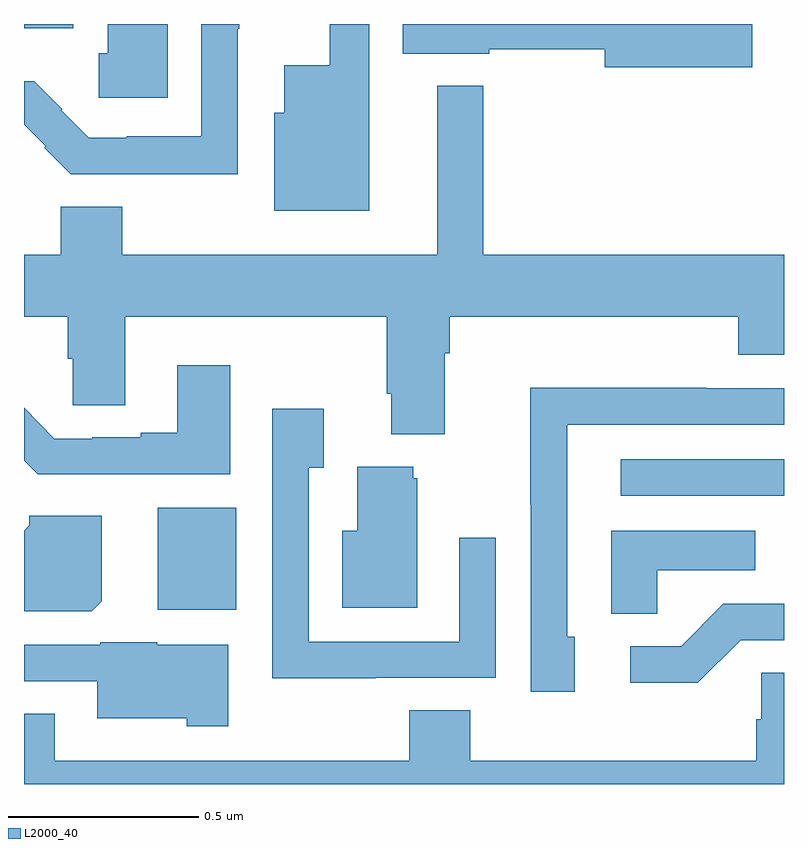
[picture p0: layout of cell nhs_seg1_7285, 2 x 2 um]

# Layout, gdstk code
import gdstk
lib = gdstk.Library(unit=1e-6, precision=1e-09)
def R(c, l, rs):  # rectangles x0, y0, x1, y1
    for r in rs: c.add(gdstk.rectangle(r[:2], r[2:], *l))
def P(c, l, *ps):  # polygons
    for p in ps: c.add(gdstk.Polygon(p, *l))
L2000_40 = (2000, 40)

nhs_seg1_7285 = lib.new_cell('nhs_seg1_7285')
R(nhs_seg1_7285, L2000_40, [(202.352,521.657,202.558,521.926), (203.571,521.958,204,522.054), (202,523.188,202.129,523.199)])
P(nhs_seg1_7285, L2000_40, [(203.917,523.199),(202.997,523.199),(202.997,523.121),(203.224,523.121),(203.224,523.132),(203.528,523.132),(203.528,523.085),(203.917,523.085)],
  [(202.909,523.199),(202.805,523.199),(202.805,523.09),(202.685,523.09),(202.685,522.966),(202.658,522.966),(202.658,522.707),(202.909,522.707)],
  [(202.378,523.199),(202.22,523.199),(202.22,523.122),(202.197,523.122),(202.197,523.005),(202.378,523.005)],
  [(202.563,523.186),(202.566,523.186),(202.566,523.199),(202.467,523.199),(202.467,522.904),(202.27,522.904),(202.27,522.9),(202.17,522.9),(202.098,522.972),(202.101,522.975),(202.027,523.049),(202,523.049),(202,522.934),(202.057,522.877),(202.053,522.873),(202.123,522.803),(202.563,522.803)],
  [(203.107,522.332),(203.12,522.332),(203.12,522.428),(203.879,522.428),(203.879,522.329),(204,522.329),(204,522.592),(203.209,522.592),(203.209,523.036),(203.087,523.036),(203.087,522.592),(202.258,522.592),(202.258,522.718),(202.097,522.718),(202.097,522.592),(202,522.592),(202,522.428),(202.115,522.428),(202.115,522.318),(202.128,522.318),(202.128,522.196),(202.267,522.196),(202.267,522.428),(202.955,522.428),(202.955,522.226),(202.967,522.226),(202.967,522.119),(203.107,522.119)],
  [(202.543,522.301),(202.403,522.301),(202.403,522.124),(202.307,522.124),(202.307,522.111),(202.18,522.111),(202.18,522.108),(202.08,522.108),(202,522.189),(202,522.05),(202.036,522.014),(202.543,522.014)],
  [(203.449,521.586),(203.43,521.586),(203.43,522.144),(204,522.144),(204,522.24),(203.795,522.24),(203.795,522.242),(203.332,522.242),(203.332,521.935),(203.334,521.935),(203.334,521.442),(203.449,521.442)],
  [(202.925,521.478),(203.241,521.478),(203.241,521.847),(203.145,521.847),(203.145,521.574),(202.749,521.574),(202.749,522.031),(202.789,522.031),(202.789,522.187),(202.653,522.187),(202.653,521.477),(202.925,521.477)],
  [(203.035,522.003),(203.024,522.003),(203.024,522.034),(202.877,522.034),(202.877,521.866),(202.838,521.866),(202.838,521.663),(203.035,521.663)],
  [(202.204,521.68),(202.204,521.905),(202.014,521.905),(202.014,521.88),(202,521.866),(202,521.654),(202.178,521.654)],
  [(203.667,521.762),(203.924,521.762),(203.924,521.866),(203.546,521.866),(203.546,521.647),(203.667,521.647)],
  [(203.886,521.577),(204,521.577),(204,521.673),(203.84,521.673),(203.729,521.562),(203.595,521.562),(203.595,521.465),(203.773,521.465)],
  [(202.537,521.566),(202.35,521.566),(202.35,521.572),(202.2,521.572),(202.2,521.565),(202,521.565),(202,521.469),(202.193,521.469),(202.193,521.372),(202.428,521.372),(202.428,521.351),(202.537,521.351)],
  [(204,521.492),(203.94,521.492),(203.94,521.369),(203.927,521.369),(203.927,521.26),(203.174,521.26),(203.174,521.393),(203.014,521.393),(203.014,521.26),(202.081,521.26),(202.081,521.384),(202,521.384),(202,521.199),(204,521.199)])

lib.write_gds('nhs_seg1_7285.gds')
